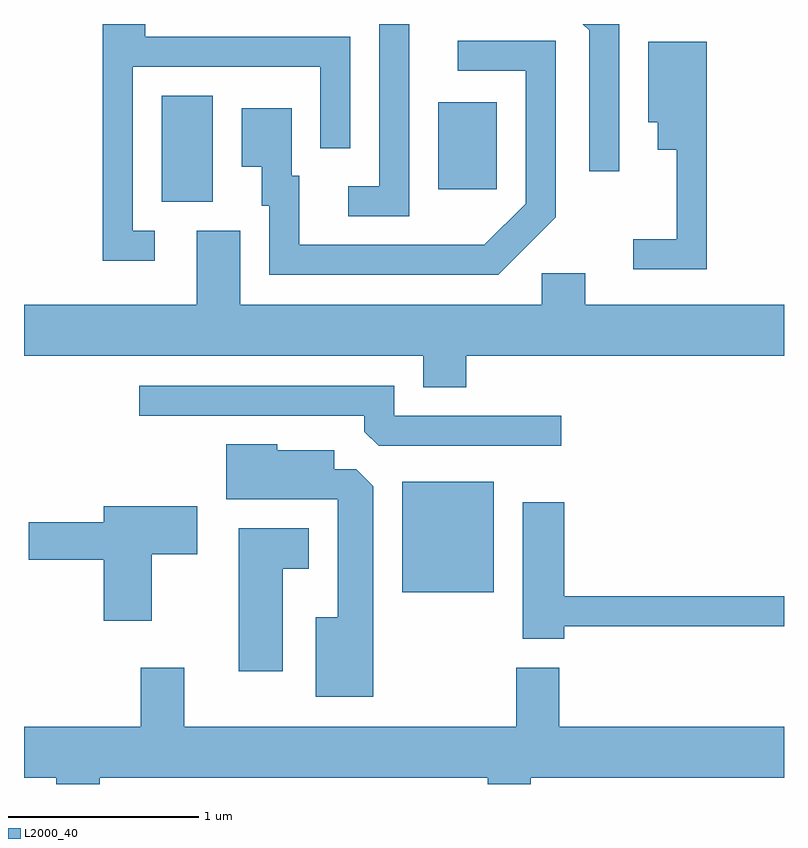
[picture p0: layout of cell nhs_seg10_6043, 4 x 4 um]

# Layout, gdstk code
import gdstk
lib = gdstk.Library(unit=1e-6, precision=1e-09)
def R(c, l, rs):  # rectangles x0, y0, x1, y1
    for r in rs: c.add(gdstk.rectangle(r[:2], r[2:], *l))
def P(c, l, *ps):  # polygons
    for p in ps: c.add(gdstk.Polygon(p, *l))
L2000_40 = (2000, 40)

nhs_seg10_6043 = lib.new_cell('nhs_seg10_6043')
R(nhs_seg10_6043, L2000_40, [(365.601,2141.531,366.084,2142.114), (364.336,2143.586,364.604,2144.144), (365.791,2143.651,366.099,2144.109)])
P(nhs_seg10_6043, L2000_40, [(366.744,2144.522),(366.553,2144.522),(366.586,2144.489),(366.586,2143.748),(366.744,2143.748)],
  [(364.298,2143.434),(364.184,2143.434),(364.184,2144.296),(365.171,2144.296),(365.171,2143.868),(365.329,2143.868),(365.329,2144.454),(364.249,2144.454),(364.249,2144.522),(364.026,2144.522),(364.026,2143.276),(364.298,2143.276)],
  [(365.639,2144.522),(365.481,2144.522),(365.481,2143.669),(365.318,2143.669),(365.318,2143.511),(365.639,2143.511)],
  [(366.409,2143.504),(366.409,2144.434),(365.893,2144.434),(365.893,2144.276),(366.251,2144.276),(366.251,2143.577),(366.034,2143.359),(365.059,2143.359),(365.059,2143.724),(365.019,2143.724),(365.019,2144.079),(364.756,2144.079),(364.756,2143.771),(364.861,2143.771),(364.861,2143.566),(364.901,2143.566),(364.901,2143.201),(366.107,2143.201)],
  [(367.204,2144.429),(366.896,2144.429),(366.896,2144.006),(366.946,2144.006),(366.946,2143.861),(367.046,2143.861),(367.046,2143.389),(366.818,2143.389),(366.818,2143.231),(367.204,2143.231)],
  [(365.939,2142.776),(367.611,2142.776),(367.611,2143.044),(366.564,2143.044),(366.564,2143.209),(366.336,2143.209),(366.336,2143.044),(364.749,2143.044),(364.749,2143.434),(364.521,2143.434),(364.521,2143.044),(363.611,2143.044),(363.611,2142.776),(365.711,2142.776),(365.711,2142.611),(365.939,2142.611)],
  [(366.438,2142.459),(365.559,2142.459),(365.559,2142.619),(364.218,2142.619),(364.218,2142.461),(365.401,2142.461),(365.401,2142.377),(365.477,2142.301),(366.438,2142.301)],
  [(365.449,2142.089),(365.359,2142.179),(365.244,2142.179),(365.244,2142.279),(364.944,2142.279),(364.944,2142.309),(364.676,2142.309),(364.676,2142.021),(365.261,2142.021),(365.261,2141.399),(365.146,2141.399),(365.146,2140.981),(365.449,2140.981)],
  [(366.454,2141.351),(367.611,2141.351),(367.611,2141.509),(366.454,2141.509),(366.454,2142.004),(366.236,2142.004),(366.236,2141.286),(366.454,2141.286)],
  [(364.284,2141.731),(364.524,2141.731),(364.524,2141.984),(364.031,2141.984),(364.031,2141.899),(363.636,2141.899),(363.636,2141.701),(364.031,2141.701),(364.031,2141.381),(364.284,2141.381)],
  [(364.974,2141.656),(365.109,2141.656),(365.109,2141.869),(364.741,2141.869),(364.741,2141.116),(364.974,2141.116)],
  [(364.009,2140.556),(366.051,2140.556),(366.051,2140.522),(366.279,2140.522),(366.279,2140.556),(367.611,2140.556),(367.611,2140.824),(366.429,2140.824),(366.429,2141.134),(366.201,2141.134),(366.201,2140.824),(364.454,2140.824),(364.454,2141.134),(364.226,2141.134),(364.226,2140.824),(363.611,2140.824),(363.611,2140.556),(363.781,2140.556),(363.781,2140.522),(364.009,2140.522)])

lib.write_gds('nhs_seg10_6043.gds')
